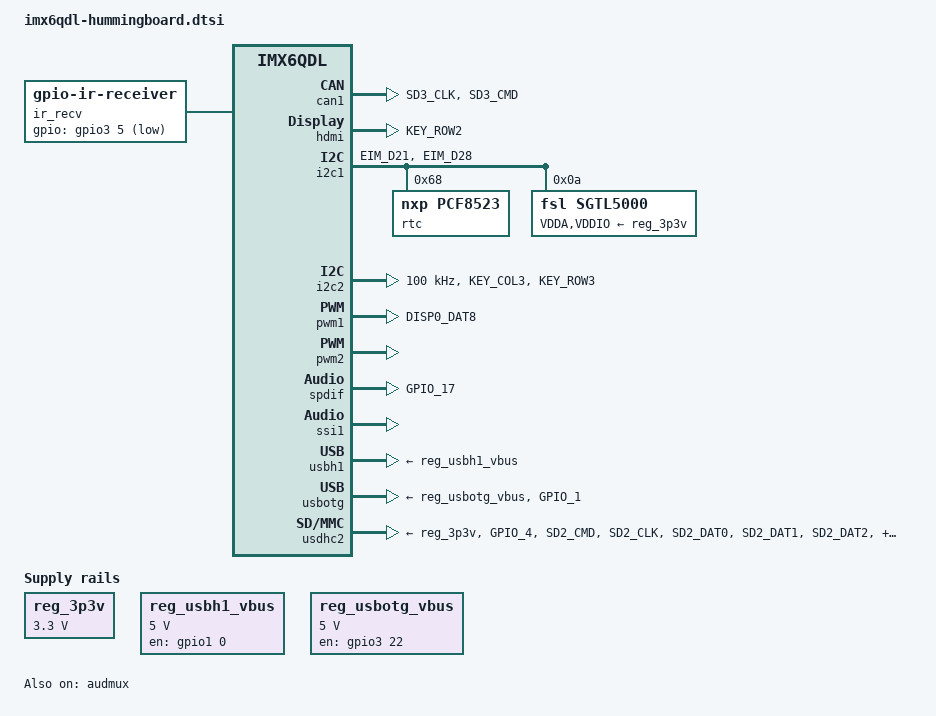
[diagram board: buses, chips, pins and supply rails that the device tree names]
/*
 * Copyright (C) 2013,2014 Russell King
 *
 * This file is dual-licensed: you can use it either under the terms
 * of the GPL or the X11 license, at your option. Note that this dual
 * licensing only applies to this file, and not this project as a
 * whole.
 *
 *  a) This file is free software; you can redistribute it and/or
 *     modify it under the terms of the GNU General Public License as
 *     published by the Free Software Foundation; either version 2 of the
 *     License.
 *
 *     This file is distributed in the hope that it will be useful
 *     but WITHOUT ANY WARRANTY; without even the implied warranty of
 *     MERCHANTABILITY or FITNESS FOR A PARTICULAR PURPOSE.  See the
 *     GNU General Public License for more details.
 *
 * Or, alternatively
 *
 *  b) Permission is hereby granted, free of charge, to any person
 *     obtaining a copy of this software and associated documentation
 *     files (the "Software"), to deal in the Software without
 *     restriction, including without limitation the rights to use
 *     copy, modify, merge, publish, distribute, sublicense, and/or
 *     sell copies of the Software, and to permit persons to whom the
 *     Software is furnished to do so, subject to the following
 *     conditions:
 *
 *     The above copyright notice and this permission notice shall be
 *     included in all copies or substantial portions of the Software.
 *
 *     THE SOFTWARE IS PROVIDED , WITHOUT WARRANTY OF ANY KIND
 *     EXPRESS OR IMPLIED, INCLUDING BUT NOT LIMITED TO THE WARRANTIES
 *     OF MERCHANTABILITY, FITNESS FOR A PARTICULAR PURPOSE AND
 *     NONINFRINGEMENT. IN NO EVENT SHALL THE AUTHORS OR COPYRIGHT
 *     HOLDERS BE LIABLE FOR ANY CLAIM, DAMAGES OR OTHER LIABILITY
 *     WHETHER IN AN ACTION OF CONTRACT, TORT OR OTHERWISE, ARISING
 *     FROM, OUT OF OR IN CONNECTION WITH THE SOFTWARE OR THE USE OR
 *     OTHER DEALINGS IN THE SOFTWARE.
 */
#include "imx6qdl-microsom.dtsi"
#include "imx6qdl-microsom-ar8035.dtsi"

/ {
	chosen {
		stdout-path = &uart1;
	};

	ir_recv: ir-receiver {
		compatible = "gpio-ir-receiver";
		gpios = <&gpio3 5 1>;
		pinctrl-names = "default";
		pinctrl-0 = <&pinctrl_hummingboard_gpio3_5>;
	};

	regulators {
		compatible = "simple-bus";

		reg_3p3v: 3p3v {
			compatible = "regulator-fixed";
			regulator-name = "3P3V";
			regulator-min-microvolt = <3300000>;
			regulator-max-microvolt = <3300000>;
			regulator-always-on;
		};

		reg_usbh1_vbus: usb-h1-vbus {
			compatible = "regulator-fixed";
			enable-active-high;
			gpio = <&gpio1 0 0>;
			pinctrl-names = "default";
			pinctrl-0 = <&pinctrl_hummingboard_usbh1_vbus>;
			regulator-name = "usb_h1_vbus";
			regulator-min-microvolt = <5000000>;
			regulator-max-microvolt = <5000000>;
		};

		reg_usbotg_vbus: usb-otg-vbus {
			compatible = "regulator-fixed";
			enable-active-high;
			gpio = <&gpio3 22 0>;
			pinctrl-names = "default";
			pinctrl-0 = <&pinctrl_hummingboard_usbotg_vbus>;
			regulator-name = "usb_otg_vbus";
			regulator-min-microvolt = <5000000>;
			regulator-max-microvolt = <5000000>;
		};
	};

	sound-sgtl5000 {
		audio-codec = <&sgtl5000>;
		audio-routing =
			"MIC_IN", "Mic Jack",
			"Mic Jack", "Mic Bias",
			"Headphone Jack", "HP_OUT";
		compatible = "fsl,imx-audio-sgtl5000";
		model = "On-board Codec";
		mux-ext-port = <5>;
		mux-int-port = <1>;
		ssi-controller = <&ssi1>;
	};

	sound-spdif {
		compatible = "fsl,imx-audio-spdif";
		model = "On-board SPDIF";
		/* IMX6 doesn't implement this yet */
		spdif-controller = <&spdif>;
		spdif-out;
	};
};

&audmux {
	status = "okay";
};

&can1 {
	pinctrl-names = "default";
	pinctrl-0 = <&pinctrl_hummingboard_flexcan1>;
	status = "okay";
};

&hdmi {
	pinctrl-names = "default";
	pinctrl-0 = <&pinctrl_hummingboard_hdmi>;
	ddc-i2c-bus = <&i2c2>;
	status = "okay";
};

&i2c1 {
	pinctrl-names = "default";
	pinctrl-0 = <&pinctrl_hummingboard_i2c1>;
	status = "okay";

	/* Pro baseboard model */
	rtc: pcf8523@68 {
		compatible = "nxp,pcf8523";
		reg = <0x68>;
	};

	/* Pro baseboard model */
	sgtl5000: sgtl5000@0a {
		clocks = <&clks IMX6QDL_CLK_CKO>;
		compatible = "fsl,sgtl5000";
		pinctrl-names = "default";
		pinctrl-0 = <&pinctrl_hummingboard_sgtl5000>;
		reg = <0x0a>;
		VDDA-supply = <&reg_3p3v>;
		VDDIO-supply = <&reg_3p3v>;
	};
};

&i2c2 {
	clock-frequency = <100000>;
	pinctrl-names = "default";
	pinctrl-0 = <&pinctrl_hummingboard_i2c2>;
	status = "okay";
};

&iomuxc {
	hummingboard {
		pinctrl_hummingboard_flexcan1: hummingboard-flexcan1 {
			fsl,pins = <
				MX6QDL_PAD_SD3_CLK__FLEXCAN1_RX 0x80000000
				MX6QDL_PAD_SD3_CMD__FLEXCAN1_TX 0x80000000
			>;
		};

		pinctrl_hummingboard_gpio3_5: hummingboard-gpio3_5 {
			fsl,pins = <
				MX6QDL_PAD_EIM_DA5__GPIO3_IO05 0x1b0b1
			>;
		};

		pinctrl_hummingboard_hdmi: hummingboard-hdmi {
			fsl,pins = <
				MX6QDL_PAD_KEY_ROW2__HDMI_TX_CEC_LINE 0x1f8b0
			>;
		};

		pinctrl_hummingboard_i2c1: hummingboard-i2c1 {
			fsl,pins = <
				MX6QDL_PAD_EIM_D21__I2C1_SCL 0x4001b8b1
				MX6QDL_PAD_EIM_D28__I2C1_SDA 0x4001b8b1
			>;
		};

		pinctrl_hummingboard_i2c2: hummingboard-i2c2 {
			fsl,pins = <
				MX6QDL_PAD_KEY_COL3__I2C2_SCL 0x4001b8b1
				MX6QDL_PAD_KEY_ROW3__I2C2_SDA 0x4001b8b1
			>;
		};

		pinctrl_hummingboard_pwm1: pwm1grp {
			fsl,pins = <MX6QDL_PAD_DISP0_DAT8__PWM1_OUT 0x1b0b1>;
		};

		pinctrl_hummingboard_sgtl5000: hummingboard-sgtl5000 {
			fsl,pins = <
				MX6QDL_PAD_DISP0_DAT19__AUD5_RXD 0x130b0
				MX6QDL_PAD_KEY_COL0__AUD5_TXC 0x130b0
				MX6QDL_PAD_KEY_ROW0__AUD5_TXD 0x110b0
				MX6QDL_PAD_KEY_COL1__AUD5_TXFS 0x130b0
				MX6QDL_PAD_GPIO_5__CCM_CLKO1 0x130b0
			>;
		};

		pinctrl_hummingboard_spdif: hummingboard-spdif {
			fsl,pins = <MX6QDL_PAD_GPIO_17__SPDIF_OUT 0x13091>;
		};

		pinctrl_hummingboard_usbh1_vbus: hummingboard-usbh1-vbus {
			fsl,pins = <MX6QDL_PAD_GPIO_0__GPIO1_IO00 0x1b0b0>;
		};

		pinctrl_hummingboard_usbotg_id: hummingboard-usbotg-id {
			/*
			 * Similar to pinctrl_usbotg_2, but we want it
			 * pulled down for a fixed host connection.
			 */
			fsl,pins = <MX6QDL_PAD_GPIO_1__USB_OTG_ID 0x13059>;
		};

		pinctrl_hummingboard_usbotg_vbus: hummingboard-usbotg-vbus {
			fsl,pins = <MX6QDL_PAD_EIM_D22__GPIO3_IO22 0x1b0b0>;
		};

		pinctrl_hummingboard_usdhc2_aux: hummingboard-usdhc2-aux {
			fsl,pins = <
				MX6QDL_PAD_GPIO_4__GPIO1_IO04    0x1f071
			>;
		};

		pinctrl_hummingboard_usdhc2: hummingboard-usdhc2 {
			fsl,pins = <
				MX6QDL_PAD_SD2_CMD__SD2_CMD    0x17059
				MX6QDL_PAD_SD2_CLK__SD2_CLK    0x10059
				MX6QDL_PAD_SD2_DAT0__SD2_DATA0 0x17059
				MX6QDL_PAD_SD2_DAT1__SD2_DATA1 0x17059
				MX6QDL_PAD_SD2_DAT2__SD2_DATA2 0x17059
				MX6QDL_PAD_SD2_DAT3__SD2_DATA3 0x13059
			>;
		};
	};
};

&pwm1 {
	 pinctrl-names = "default";
	 pinctrl-0 = <&pinctrl_hummingboard_pwm1>;
	 status = "okay";
};

&pwm2 {
	 pinctrl-names = "default";
	 status = "okay";
};

&spdif {
	pinctrl-names = "default";
	pinctrl-0 = <&pinctrl_hummingboard_spdif>;
	status = "okay";
};

&ssi1 {
	fsl,mode = "i2s-slave";
	status = "okay";
};

&usbh1 {
	disable-over-current;
	vbus-supply = <&reg_usbh1_vbus>;
	status = "okay";
};

&usbotg {
	disable-over-current;
	pinctrl-names = "default";
	pinctrl-0 = <&pinctrl_hummingboard_usbotg_id>;
	vbus-supply = <&reg_usbotg_vbus>;
	status = "okay";
};

&usdhc2 {
	pinctrl-names = "default";
	pinctrl-0 = <
		&pinctrl_hummingboard_usdhc2_aux
		&pinctrl_hummingboard_usdhc2
	>;
	vmmc-supply = <&reg_3p3v>;
	cd-gpios = <&gpio1 4 0>;
	status = "okay";
};
